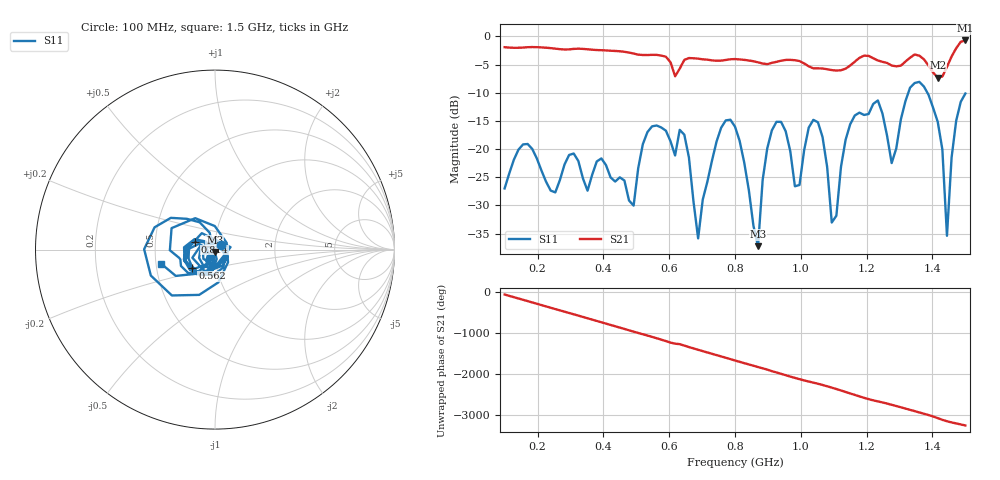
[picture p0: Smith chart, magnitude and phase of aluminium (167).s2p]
! NanoVNA-App
! Date: 2025-09-25 14:56:34
! Start: 100MHz Stop: 1,5GHz Points: 101
! S-Parameter data: F S11 S21 S12 S22
# Hz S RI R 50
!  Frequency  S11_Real  S11_Imag  S21_Real  S21_Imag  S12_Real  S12_Imag  S22_Real  S22_Imag
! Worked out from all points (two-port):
!   101 points, 100 MHz to 1.5 GHz, reference 50 ohm
!   highest |S21| = -0.72 dB at 1.5 GHz (marker M1); lowest = -7.4 dB at 1.416 GHz (marker M2)
!   |S21| within 3 dB of the highest: start of sweep to 591.6 MHz; 1.457 GHz to end of sweep (the widest 2 of 4)
!   lowest |S11| = -37.2 dB at 870 MHz (marker M3), VSWR 1.03, Z = 49.8 - j1.36 ohm
!   |S11| at or under -10 dB: start of sweep to 1.327 GHz; 1.384 GHz to end of sweep
!   S12 and S22 are empty: the file has one direction only
!   S11 on the Smith chart (normalised r, x): 100 MHz: 1.07, +0.06; 562 MHz: 0.76, -0.16; 814 MHz: 0.80, +0.07; 1.5 GHz: 0.53, -0.09
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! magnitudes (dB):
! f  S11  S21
! 100 MHz  -27.0  -1.9
! 338 MHz  -25.2  -2.2
! 492 MHz  -30.0  -3.1
! 562 MHz  -15.8  -3.3
! 576 MHz  -16.2  -3.4
! 646 MHz  -17.5  -4.2
! 688 MHz  -35.9  -4.0
! 800 MHz  -16.0  -4.0
! 814 MHz  -18.5  -4.1
! 870 MHz  -37.2  -4.6
! 912 MHz  -16.7  -4.7
! 982 MHz  -26.6  -4.2
! 1.038 GHz  -14.8  -5.7
! 1.094 GHz  -33.0  -6.0
! 1.164 GHz  -14.0  -4.5
! 1.234 GHz  -11.4  -4.3
! 1.276 GHz  -22.5  -5.2
! 1.346 GHz  -8.3  -3.2
! 1.416 GHz  -15.2  -7.4
! 1.444 GHz  -35.4  -5.4
! 1.472 GHz  -15.0  -2.1
! 1.5 GHz  -10.1  -0.7
